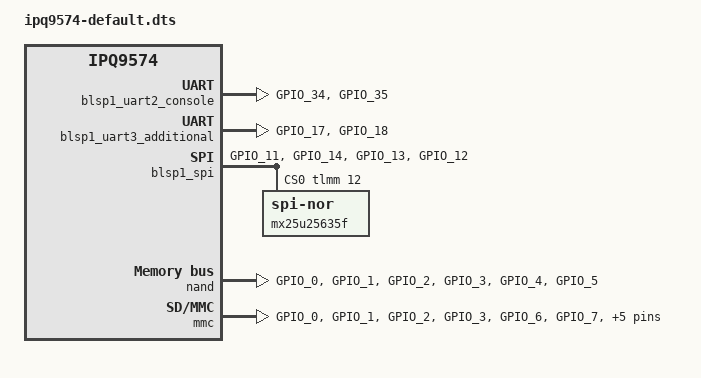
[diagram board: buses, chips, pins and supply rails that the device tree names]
// SPDX-License-Identifier: GPL-2.0-only
/*
* Copyright (c) 2023, Qualcomm Innovation Center, Inc. All rights reserved.
*/

/dts-v1/;

#include "ipq9574.dtsi"

/ {
	config_name = "config-default";

	aliases {
		console = &blsp1_uart2_console;
		uart2 = &blsp1_uart3_additional;
		sdhci = &mmc;
	};

	soc: soc {
		tlmm: pinctrl@1000000 {

			sdhci_pinmux: mmc {
				emmc_data {
					pins = "GPIO_0", "GPIO_1", "GPIO_2",
						"GPIO_3", "GPIO_6", "GPIO_7",
						"GPIO_8", "GPIO_9";
					function = "sdc";
					drive-strength = <DRIVE_STRENGTH_8MA>;
					bias-pull-up;
				};

				emmc_cmd{
					pins = "GPIO_4";
					function = "sdc";
					drive-strength = <DRIVE_STRENGTH_8MA>;
					bias-pull-up;
				};

				emmc_clk{
					pins = "GPIO_5";
					function = "sdc";
					drive-strength = <DRIVE_STRENGTH_8MA>;
					bias-disable;
				};

				emmc_rclk{
					pins = "GPIO_10";
					function = "sdc";
					drive-strength = <DRIVE_STRENGTH_8MA>;
					bias-pull-down;
				};
			};

			qspi_pinmux: nand {
				qspi_data {
					pins = "GPIO_0", "GPIO_1", "GPIO_2",
						"GPIO_3";
					function = "qspi";
					drive-strength = <DRIVE_STRENGTH_8MA>;
					bias-disable;
				};

				qspi_cs_n {
					pins = "GPIO_4";
					function = "qspi";
					drive-strength = <DRIVE_STRENGTH_8MA>;
					bias-disable;
				};

				qspi_clk {
					pins = "GPIO_5";
					function = "qspi";
					drive-strength = <DRIVE_STRENGTH_8MA>;
					bias-disable;
				};
			};

			serial_pinmux: uart {
				u-boot,dm-pre-reloc;
				data {
					u-boot,dm-pre-reloc;
					pins = "GPIO_34", "GPIO_35";
					function = "blsp0_uart0";
					drive-strength = <DRIVE_STRENGTH_8MA>;
					bias-pull-up;
				};
			};

			serial_pinmux2: uart2 {
				data {
					pins = "GPIO_17", "GPIO_18";
					function = "blsp1_uart2";
					drive-strength = <DRIVE_STRENGTH_8MA>;
					bias-disable;
				};
			};

			blsp1_spi_pinmux: blsp1_spi_pins {
				blsp0_spi_clk {
					pins = "GPIO_11";
					function = "blsp0_spi";
					drive-strength = <DRIVE_STRENGTH_8MA>;
					bias-disable;
				};

				blsp0_spi_mosi {
					pins = "GPIO_14";
					function = "blsp0_spi";
					drive-strength = <DRIVE_STRENGTH_8MA>;
					bias-disable;
				};

				blsp0_spi_miso {
					pins = "GPIO_13";
					function = "blsp0_spi";
					drive-strength = <DRIVE_STRENGTH_8MA>;
					bias-disable;
				};

				blsp0_spi_cs {
					pins = "GPIO_12";
					function = "blsp0_spi";
					drive-strength = <DRIVE_STRENGTH_8MA>;
					bias-pull-up;
				};

			};
		};


		blsp1_uart2_console: serial@78B1000 {
			pinctrl-names = "default";
			pinctrl-0 = <&serial_pinmux>;
			status = "okay";
		};

		blsp1_uart3_additional: serial@78B2000 {
			pinctrl-names = "default";
			pinctrl-0 = <&serial_pinmux2>;
			status = "okay";
		};

		blsp1_spi: spi@78b5000 {
			pinctrl-names = "default";
			pinctrl-0 = <&blsp1_spi_pinmux>;
			cs-gpios = <&tlmm 12 0>;
			force-cs;
			status = "okay";

			mx25u25635f@0 {
				compatible = "jedec,spi-nor";
				reg = <0>;
			};
		};

		nand: nand-controller@79B0000 {
			pinctrl-names = "default";
			pinctrl-0 = <&qspi_pinmux>;
			status = "okay";
		};

		mmc: sdhci@7800000 {
			pinctrl-names = "default";
			pinctrl-0 = <&sdhci_pinmux>;
			status = "okay";
		};

		watchdog: non-sec@b017000 {
			status = "okay";
		};
	};
};
